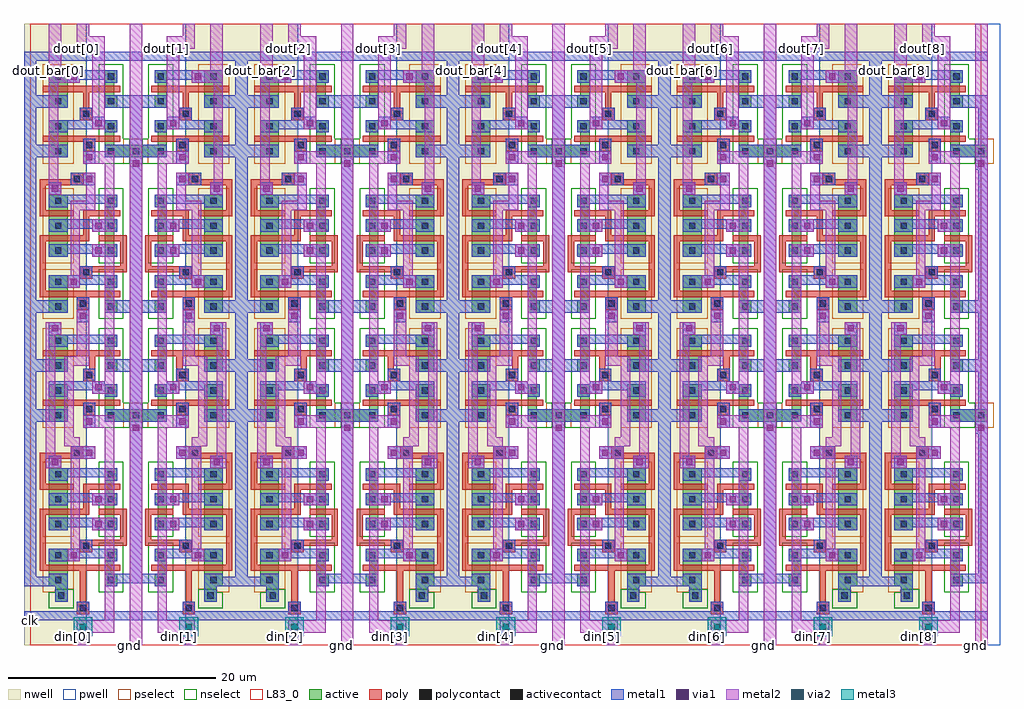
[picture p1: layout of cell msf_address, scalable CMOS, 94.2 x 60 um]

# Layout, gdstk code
from math import pi, radians
import gdstk
lib = gdstk.Library(unit=1e-6, precision=1e-09)
def R(c, l, rs):  # rectangles x0, y0, x1, y1
    for r in rs: c.add(gdstk.rectangle(r[:2], r[2:], *l))
def A(c, l, x, y, w, h, nx, ny, dx, dy):  # array of equal rectangles
    R(c, l, [(x+i*dx, y+j*dy, x+i*dx+w, y+j*dy+h) for i in range(nx) for j in range(ny)])
pwell = (41, 0)
nwell = (42, 0)
active = (43, 0)
pselect = (44, 0)
nselect = (45, 0)
poly = (46, 0)
polycontact = (47, 0)
activecontact = (48, 0)
metal1 = (49, 0)
via1 = (50, 0)
metal2 = (51, 0)
via2 = (61, 0)
metal3 = (62, 0)
L83_0 = (83, 0)

ms_flop = lib.new_cell('ms_flop')
R(ms_flop, pwell, [(5.4,0,12,60)])
R(ms_flop, nwell, [(-0.6,0,5.4,60)])
A(ms_flop, active, 7.2, 11.1, 1.2, 1.2, 1, 3, 0, 2.4)
A(ms_flop, active, 7.2, 24, 1.2, 1.2, 1, 3, 0, 2.4)
A(ms_flop, active, 7.2, 37.5, 1.2, 1.2, 1, 3, 0, 2.4)
A(ms_flop, active, 7.2, 49.5, 1.2, 1.2, 1, 3, 0, 2.4)
R(ms_flop, active, [(2.4,4.2,3.6,5.7), (1.8,5.7,3.6,9.3), (7.2,5.7,8.4,6.9), (7.2,6.9,8.1,8.1), (7.2,8.1,8.4,9.3), (1.8,11.1,3.6,17.1), (7.2,12.3,8.1,13.5), (7.2,14.7,8.1,15.9), (1.8,21.6,3.6,25.2), (7.2,21.6,10.8,22.8), (7.2,22.8,8.1,24), (1.8,26.4,3.6,30), (7.2,27.6,8.1,28.8), (1.8,32.1,3.6,35.7), (7.2,32.1,8.4,33.3), (7.2,33.3,8.1,34.5), (7.2,34.5,8.4,35.7), (1.8,37.5,3.6,43.5), (7.2,38.7,8.1,39.9), (7.2,41.1,8.1,42.3), (1.8,47.1,3.6,50.7), (7.2,47.1,10.8,48.3), (7.2,48.3,8.1,49.5), (1.8,51.9,3.6,55.5), (7.2,53.1,8.1,54.3)])
R(ms_flop, pselect, [(1.2,5.1,2.4,5.4), (1.2,5.4,4.2,9.9), (1.2,10.5,4.2,17.7), (1.2,21,4.2,30.6), (9.6,21,11.4,23.4), (1.2,31.5,4.2,36.3), (1.2,36.9,4.2,44.1), (1.2,46.5,4.2,56.1), (9.6,46.5,11.4,48.9)])
R(ms_flop, nselect, [(1.8,3.6,4.2,5.1), (2.4,5.1,4.2,5.4), (6.6,5.1,9,9.9), (6.6,10.5,9,17.7), (6.6,21,9.6,23.4), (6.6,23.4,9,30.6), (6.6,31.5,9,36.3), (6.6,36.9,9,44.1), (6.6,46.5,9.6,48.9), (6.6,48.9,9,56.1)])
R(ms_flop, poly, [(4.5,3,5.7,4.2), (4.8,4.2,5.4,7.2), (0.9,7.2,8.7,7.8), (0.9,7.8,1.5,12.6), (4.8,9,6,9.6), (4.8,9.6,9.3,10.2), (8.7,10.2,9.3,12.6), (0.9,12.6,5.7,13.2), (6.6,12.6,9.3,13.2), (5.1,13.2,5.7,15), (0.9,15,4.2,15.6), (5.1,15,8.7,15.6), (0.9,15.6,1.5,18), (0.9,18,5.1,18.6), (3.9,18.6,5.1,19.2), (5.1,22.2,6.3,23.1), (1.2,23.1,8.7,23.7), (5.1,25.5,6.3,26.7), (5.7,26.7,6.3,27.9), (1.2,27.9,8.7,28.5), (4.5,32.4,5.7,33.6), (0.9,33.6,8.7,34.2), (0.9,34.2,1.5,39), (4.8,35.4,6,36), (4.8,36,9.3,36.6), (8.7,36.6,9.3,39), (0.9,39,5.7,39.6), (6.6,39,9.3,39.6), (5.1,39.6,5.7,41.4), (0.9,41.4,4.2,42), (5.1,41.4,8.7,42), (0.9,42,1.5,44.4), (0.9,44.4,5.1,45), (3.9,45,5.1,45.6), (5.1,47.7,6.3,48.6), (1.2,48.6,8.7,49.2), (4.8,50.7,6,51.9), (5.1,51.9,5.7,53.4), (1.2,53.4,8.7,54)])
R(ms_flop, polycontact, [(4.8,3.3,5.4,3.9), (5.1,9.3,5.7,9.9), (4.2,18.3,4.8,18.9), (5.4,22.5,6,23.1), (5.4,25.8,6,26.4), (4.8,32.7,5.4,33.3), (5.1,35.7,5.7,36.3), (4.2,44.7,4.8,45.3), (5.4,48,6,48.6), (5.1,51,5.7,51.6)])
A(ms_flop, activecontact, 2.4, 11.4, 0.6, 0.6, 1, 3, 0, 2.4)
A(ms_flop, activecontact, 7.5, 11.4, 0.6, 0.6, 1, 3, 0, 2.4)
A(ms_flop, activecontact, 2.4, 21.9, 0.6, 0.6, 1, 4, 0, 2.4)
A(ms_flop, activecontact, 7.5, 21.9, 0.6, 0.6, 1, 4, 0, 2.4)
A(ms_flop, activecontact, 2.4, 37.8, 0.6, 0.6, 1, 3, 0, 2.4)
A(ms_flop, activecontact, 7.5, 37.8, 0.6, 0.6, 1, 3, 0, 2.4)
A(ms_flop, activecontact, 2.4, 47.4, 0.6, 0.6, 1, 4, 0, 2.4)
A(ms_flop, activecontact, 7.5, 47.4, 0.6, 0.6, 1, 4, 0, 2.4)
R(ms_flop, activecontact, [(2.7,4.5,3.3,5.1), (2.4,6,3,6.6), (7.5,6,8.1,6.6), (2.4,8.4,3,9), (7.5,8.4,8.1,9), (9.9,21.9,10.5,22.5), (2.4,32.4,3,33), (7.5,32.4,8.1,33), (2.4,34.8,3,35.4), (7.5,34.8,8.1,35.4), (9.9,47.4,10.5,48)])
A(ms_flop, metal1, 1.8, 11.1, 1.8, 0.3, 1, 3, 0, 2.4)
A(ms_flop, metal1, 1.8, 11.4, 6.6, 0.9, 1, 3, 0, 2.4)
A(ms_flop, metal1, 1.8, 37.5, 1.8, 0.3, 1, 3, 0, 2.4)
A(ms_flop, metal1, 1.8, 37.8, 6.6, 0.9, 1, 3, 0, 2.4)
R(ms_flop, metal1, [(-0.6,2.4,10.8,3.3), (-0.6,2.4,10.8,3.3), (4.5,3.3,5.7,4.2), (2.4,4.2,3.6,5.7), (-0.6,5.7,3.6,6.6), (7.2,5.7,8.4,6), (7.2,6,10.8,6.9), (-0.6,6.6,0.6,21.6), (1.8,6.6,3.6,6.9), (9.9,6.9,10.8,20.4), (1.8,8.1,4.8,8.4), (7.2,8.1,8.4,8.4), (1.8,8.4,8.4,9.3), (4.8,9.3,6,10.2), (6,11.1,8.4,11.4), (6,13.5,8.4,13.8), (7.2,15.9,8.4,16.2), (1.8,17.1,3,18.3), (3.9,18,6.3,19.2), (9.6,20.4,10.8,21.6), (5.1,21,6.3,23.4), (-0.6,21.6,3.6,22.8), (7.2,21.6,10.8,22.8), (-0.6,22.8,0.6,26.4), (9.9,22.8,10.8,26.4), (1.8,24,3.6,24.6), (7.2,24,8.4,24.3), (6,24.3,8.4,24.6), (1.8,24.6,8.4,25.2), (1.8,25.2,7.2,25.5), (5.1,25.5,6.3,26.7), (-0.6,26.4,3.6,27.6), (7.2,26.4,10.8,27.6), (-0.6,27.6,0.6,32.1), (9.9,27.6,10.8,32.1), (1.8,28.8,3.6,29.1), (7.2,28.8,8.4,29.1), (1.8,29.1,8.4,30), (1.8,30,3,31.2), (4.5,31.2,5.7,33.6), (-0.6,32.1,3.6,33.3), (7.2,32.1,10.8,33.3), (-0.6,33.3,0.6,47.1), (9.9,33.3,10.8,45.9), (1.8,34.5,4.8,34.8), (7.2,34.5,8.4,34.8), (1.8,34.8,8.4,35.7), (4.8,35.7,6,36.6), (6,37.5,8.4,37.8), (6,39.9,8.4,40.2), (7.2,42.3,8.4,42.6), (1.8,43.5,3,44.7), (3.9,44.4,6.3,45.6), (9.6,45.9,10.8,47.1), (5.1,46.5,6.3,48.9), (-0.6,47.1,3.6,48.3), (7.2,47.1,10.8,48.3), (-0.6,48.3,0.6,51.9), (9.9,48.3,10.8,51.9), (1.8,49.5,3.6,49.8), (7.2,49.5,8.4,49.8), (1.8,49.8,8.4,50.7), (4.8,50.7,7.2,51), (4.8,51,6,51.9), (-0.6,51.9,3.6,53.1), (7.2,51.9,10.8,53.1), (-0.6,53.1,0.6,56.4), (1.8,54.3,4.8,54.6), (7.2,54.3,8.4,54.6), (1.8,54.6,8.4,55.5), (-0.6,56.4,10.8,57.3), (-0.6,56.4,10.8,57.3)])
R(ms_flop, via1, [(3.9,8.4,4.5,9), (6.3,11.4,6.9,12), (6.3,13.8,6.9,14.4), (2.1,17.4,2.7,18), (5.4,18.3,6,18.9), (9.9,20.7,10.5,21.3), (5.4,21.3,6,21.9), (6.3,24.6,6.9,25.2), (2.1,30.3,2.7,30.9), (4.8,31.5,5.4,32.1), (3.9,34.8,4.5,35.4), (6.3,37.8,6.9,38.4), (6.3,40.2,6.9,40.8), (2.1,43.8,2.7,44.4), (5.4,44.7,6,45.3), (9.9,46.2,10.5,46.8), (5.4,46.8,6,47.4), (6.3,50.1,6.9,50.7), (3.9,54.6,4.5,55.2)])
R(ms_flop, metal2, [(4.5,0,5.7,1.2), (9.6,0,10.8,60), (9.6,0,10.8,60), (4.5,1.2,8.1,2.4), (7.2,2.4,8.1,11.1), (3.6,8.1,4.8,9.3), (3.9,9.3,4.8,18), (6,11.1,8.1,12.3), (6,13.5,8.1,14.7), (7.2,14.7,8.1,21), (1.5,17.1,3,18.3), (3.9,18,6.3,19.2), (1.5,18.3,2.4,30), (3.3,19.2,4.8,20.1), (3.3,20.1,4.2,27), (5.1,21,8.1,22.2), (6,24.3,8.1,25.5), (7.2,25.5,8.1,37.5), (3.3,27,5.7,27.9), (4.5,27.9,5.7,32.4), (1.5,30,3,31.2), (3.6,34.5,4.8,35.7), (3.9,35.7,4.8,42), (6,37.5,8.1,38.7), (6,39.9,8.1,41.1), (7.2,41.1,8.1,46.5), (3.9,42,6.3,42.9), (5.4,42.9,6.3,44.4), (1.8,43.5,3,44.7), (5.1,44.4,6.3,45.6), (1.8,44.7,2.7,54.3), (5.1,46.5,8.1,47.7), (6,49.8,7.2,57.6), (1.8,54.3,4.8,55.5), (1.8,55.5,3,60), (1.8,55.5,3,60), (4.5,57.6,7.2,58.8), (4.5,57.6,7.2,58.8), (4.5,58.8,5.7,60)])
R(ms_flop, via2, [(4.8,1.5,5.4,2.1)])
R(ms_flop, metal3, [(4.2,0.9,6,2.7), (4.2,0.9,6,2.7)])
R(ms_flop, L83_0, [(0,0,10.2,60)])
ms_flop.add(gdstk.Label('clk', (0,2.4), layer=49, texttype=0))
ms_flop.add(gdstk.Label('vdd', (-0.6,57.3), layer=49, texttype=0))
ms_flop.add(gdstk.Label('din', (4.5,1.2), layer=62, texttype=0))
ms_flop.add(gdstk.Label('dout_bar', (1.8,58.8), layer=51, texttype=0))
ms_flop.add(gdstk.Label('dout', (4.5,58.8), layer=51, texttype=0))
ms_flop.add(gdstk.Label('gnd', (9.6,0), layer=51, texttype=0))
ms_flop.add(gdstk.Label('din', (4.2,0.9), layer=62, texttype=0))
ms_flop.add(gdstk.Label('dout', (4.5,57.6), layer=51, texttype=0))
ms_flop.add(gdstk.Label('clk', (-0.6,2.4), layer=49, texttype=0))
ms_flop.add(gdstk.Label('dout_bar', (1.8,55.5), layer=51, texttype=0))
ms_flop.add(gdstk.Label('vdd', (-0.6,56.4), layer=49, texttype=0))
ms_flop.add(gdstk.Label('gnd', (9.6,0), layer=51, texttype=0))

msf_address = lib.new_cell('msf_address')
R(msf_address, metal1, [(0,2.4,91.8,3.3), (0,2.4,91.8,3.3), (0,56.4,91.8,57.3), (0,56.4,91.8,57.3)])
R(msf_address, metal2, [(9.6,0,10.8,60), (9.6,0,10.8,60), (30,0,31.2,60), (30,0,31.2,60), (50.4,0,51.6,60), (50.4,0,51.6,60), (70.8,0,72,60), (70.8,0,72,60), (91.2,0,92.4,60), (91.2,0,92.4,60), (1.8,55.5,3,60), (1.8,55.5,3,60), (17.4,55.5,18.6,60), (17.4,55.5,18.6,60), (22.2,55.5,23.4,60), (22.2,55.5,23.4,60), (37.8,55.5,39,60), (37.8,55.5,39,60), (42.6,55.5,43.8,60), (42.6,55.5,43.8,60), (58.2,55.5,59.4,60), (58.2,55.5,59.4,60), (63,55.5,64.2,60), (63,55.5,64.2,60), (78.6,55.5,79.8,60), (78.6,55.5,79.8,60), (83.4,55.5,84.6,60), (83.4,55.5,84.6,60), (4.5,57.6,7.2,58.8), (4.5,57.6,7.2,58.8), (13.2,57.6,15.9,58.8), (13.2,57.6,15.9,58.8), (24.9,57.6,27.6,58.8), (24.9,57.6,27.6,58.8), (33.6,57.6,36.3,58.8), (33.6,57.6,36.3,58.8), (45.3,57.6,48,58.8), (45.3,57.6,48,58.8), (54,57.6,56.7,58.8), (54,57.6,56.7,58.8), (65.7,57.6,68.4,58.8), (65.7,57.6,68.4,58.8), (74.4,57.6,77.1,58.8), (74.4,57.6,77.1,58.8), (86.1,57.6,88.8,58.8), (86.1,57.6,88.8,58.8)])
R(msf_address, metal3, [(4.2,0.9,6,2.7), (4.2,0.9,6,2.7), (14.4,0.9,16.2,2.7), (14.4,0.9,16.2,2.7), (24.6,0.9,26.4,2.7), (24.6,0.9,26.4,2.7), (34.8,0.9,36.6,2.7), (34.8,0.9,36.6,2.7), (45,0.9,46.8,2.7), (45,0.9,46.8,2.7), (55.2,0.9,57,2.7), (55.2,0.9,57,2.7), (65.4,0.9,67.2,2.7), (65.4,0.9,67.2,2.7), (75.6,0.9,77.4,2.7), (75.6,0.9,77.4,2.7), (85.8,0.9,87.6,2.7), (85.8,0.9,87.6,2.7)])
msf_address.add(gdstk.Reference(ms_flop, (0,0)))
msf_address.add(gdstk.Reference(ms_flop, (20.4,0), rotation=pi, x_reflection=True))
msf_address.add(gdstk.Reference(ms_flop, (20.4,0)))
msf_address.add(gdstk.Reference(ms_flop, (40.8,0), rotation=pi, x_reflection=True))
msf_address.add(gdstk.Reference(ms_flop, (40.8,0)))
msf_address.add(gdstk.Reference(ms_flop, (61.2,0), rotation=pi, x_reflection=True))
msf_address.add(gdstk.Reference(ms_flop, (61.2,0)))
msf_address.add(gdstk.Reference(ms_flop, (81.6,0), rotation=pi, x_reflection=True))
msf_address.add(gdstk.Reference(ms_flop, (81.6,0)))
msf_address.add(gdstk.Reference(ms_flop, (0,0)))
msf_address.add(gdstk.Reference(ms_flop, (20.4,0), rotation=pi, x_reflection=True))
msf_address.add(gdstk.Reference(ms_flop, (20.4,0)))
msf_address.add(gdstk.Reference(ms_flop, (40.8,0), rotation=pi, x_reflection=True))
msf_address.add(gdstk.Reference(ms_flop, (40.8,0)))
msf_address.add(gdstk.Reference(ms_flop, (61.2,0), rotation=pi, x_reflection=True))
msf_address.add(gdstk.Reference(ms_flop, (61.2,0)))
msf_address.add(gdstk.Reference(ms_flop, (81.6,0), rotation=pi, x_reflection=True))
msf_address.add(gdstk.Reference(ms_flop, (81.6,0)))
msf_address.add(gdstk.Label('din[6]', (65.4,0.9), layer=62, texttype=0))
msf_address.add(gdstk.Label('dout_bar[2]', (22.2,55.5), layer=51, texttype=0))
msf_address.add(gdstk.Label('din[4]', (45,0.9), layer=62, texttype=0))
msf_address.add(gdstk.Label('din[0]', (4.2,0.9), layer=62, texttype=0))
msf_address.add(gdstk.Label('din[2]', (24.6,0.9), layer=62, texttype=0))
msf_address.add(gdstk.Label('dout_bar[8]', (83.4,55.5), layer=51, texttype=0))
msf_address.add(gdstk.Label('dout[8]', (86.1,57.6), layer=51, texttype=0))
msf_address.add(gdstk.Label('clk', (0,2.4), layer=49, texttype=0))
msf_address.add(gdstk.Label('dout[6]', (65.7,57.6), layer=51, texttype=0))
msf_address.add(gdstk.Label('dout_bar[6]', (63,55.5), layer=51, texttype=0))
msf_address.add(gdstk.Label('dout[2]', (24.9,57.6), layer=51, texttype=0))
msf_address.add(gdstk.Label('dout[4]', (45.3,57.6), layer=51, texttype=0))
msf_address.add(gdstk.Label('dout_bar[0]', (1.8,55.5), layer=51, texttype=0))
msf_address.add(gdstk.Label('dout[0]', (4.5,57.6), layer=51, texttype=0))
msf_address.add(gdstk.Label('dout_bar[4]', (42.6,55.5), layer=51, texttype=0))
msf_address.add(gdstk.Label('gnd', (9.6,0), layer=51, texttype=0))
msf_address.add(gdstk.Label('gnd', (30,0), layer=51, texttype=0))
msf_address.add(gdstk.Label('gnd', (50.4,0), layer=51, texttype=0))
msf_address.add(gdstk.Label('gnd', (70.8,0), layer=51, texttype=0))
msf_address.add(gdstk.Label('gnd', (91.2,0), layer=51, texttype=0))
msf_address.add(gdstk.Label('din[7]', (75.6,0.9), layer=62, texttype=0))
msf_address.add(gdstk.Label('dout_bar[1]', (17.4,55.5), layer=51, texttype=0))
msf_address.add(gdstk.Label('din[3]', (34.8,0.9), layer=62, texttype=0))
msf_address.add(gdstk.Label('din[5]', (55.2,0.9), layer=62, texttype=0))
msf_address.add(gdstk.Label('dout_bar[3]', (37.8,55.5), layer=51, texttype=0))
msf_address.add(gdstk.Label('din[1]', (14.4,0.9), layer=62, texttype=0))
msf_address.add(gdstk.Label('dout[7]', (74.4,57.6), layer=51, texttype=0))
msf_address.add(gdstk.Label('dout[3]', (33.6,57.6), layer=51, texttype=0))
msf_address.add(gdstk.Label('din[8]', (85.8,0.9), layer=62, texttype=0))
msf_address.add(gdstk.Label('dout_bar[7]', (78.6,55.5), layer=51, texttype=0))
msf_address.add(gdstk.Label('vdd', (0,56.4), layer=49, texttype=0))
msf_address.add(gdstk.Label('dout[5]', (54,57.6), layer=51, texttype=0))
msf_address.add(gdstk.Label('dout[1]', (13.2,57.6), layer=51, texttype=0))
msf_address.add(gdstk.Label('dout_bar[5]', (58.2,55.5), layer=51, texttype=0))
msf_address.add(gdstk.Label('din[6]', (65.4,0.9), layer=62, texttype=0))
msf_address.add(gdstk.Label('dout_bar[2]', (22.2,55.5), layer=51, texttype=0))
msf_address.add(gdstk.Label('din[4]', (45,0.9), layer=62, texttype=0))
msf_address.add(gdstk.Label('din[0]', (4.2,0.9), layer=62, texttype=0))
msf_address.add(gdstk.Label('din[2]', (24.6,0.9), layer=62, texttype=0))
msf_address.add(gdstk.Label('dout_bar[8]', (83.4,55.5), layer=51, texttype=0))
msf_address.add(gdstk.Label('dout[8]', (86.1,57.6), layer=51, texttype=0))
msf_address.add(gdstk.Label('clk', (0,2.4), layer=49, texttype=0))
msf_address.add(gdstk.Label('dout[6]', (65.7,57.6), layer=51, texttype=0))
msf_address.add(gdstk.Label('dout_bar[6]', (63,55.5), layer=51, texttype=0))
msf_address.add(gdstk.Label('dout[2]', (24.9,57.6), layer=51, texttype=0))
msf_address.add(gdstk.Label('dout[4]', (45.3,57.6), layer=51, texttype=0))
msf_address.add(gdstk.Label('dout_bar[0]', (1.8,55.5), layer=51, texttype=0))
msf_address.add(gdstk.Label('dout[0]', (4.5,57.6), layer=51, texttype=0))
msf_address.add(gdstk.Label('dout_bar[4]', (42.6,55.5), layer=51, texttype=0))
msf_address.add(gdstk.Label('gnd', (9.6,0), layer=51, texttype=0))
msf_address.add(gdstk.Label('gnd', (30,0), layer=51, texttype=0))
msf_address.add(gdstk.Label('gnd', (50.4,0), layer=51, texttype=0))
msf_address.add(gdstk.Label('gnd', (70.8,0), layer=51, texttype=0))
msf_address.add(gdstk.Label('gnd', (91.2,0), layer=51, texttype=0))
msf_address.add(gdstk.Label('din[7]', (75.6,0.9), layer=62, texttype=0))
msf_address.add(gdstk.Label('dout_bar[1]', (17.4,55.5), layer=51, texttype=0))
msf_address.add(gdstk.Label('din[3]', (34.8,0.9), layer=62, texttype=0))
msf_address.add(gdstk.Label('din[5]', (55.2,0.9), layer=62, texttype=0))
msf_address.add(gdstk.Label('dout_bar[3]', (37.8,55.5), layer=51, texttype=0))
msf_address.add(gdstk.Label('din[1]', (14.4,0.9), layer=62, texttype=0))
msf_address.add(gdstk.Label('dout[7]', (74.4,57.6), layer=51, texttype=0))
msf_address.add(gdstk.Label('dout[3]', (33.6,57.6), layer=51, texttype=0))
msf_address.add(gdstk.Label('din[8]', (85.8,0.9), layer=62, texttype=0))
msf_address.add(gdstk.Label('dout_bar[7]', (78.6,55.5), layer=51, texttype=0))
msf_address.add(gdstk.Label('vdd', (0,56.4), layer=49, texttype=0))
msf_address.add(gdstk.Label('dout[5]', (54,57.6), layer=51, texttype=0))
msf_address.add(gdstk.Label('dout[1]', (13.2,57.6), layer=51, texttype=0))
msf_address.add(gdstk.Label('dout_bar[5]', (58.2,55.5), layer=51, texttype=0))

lib.write_gds('msf_address.gds')
